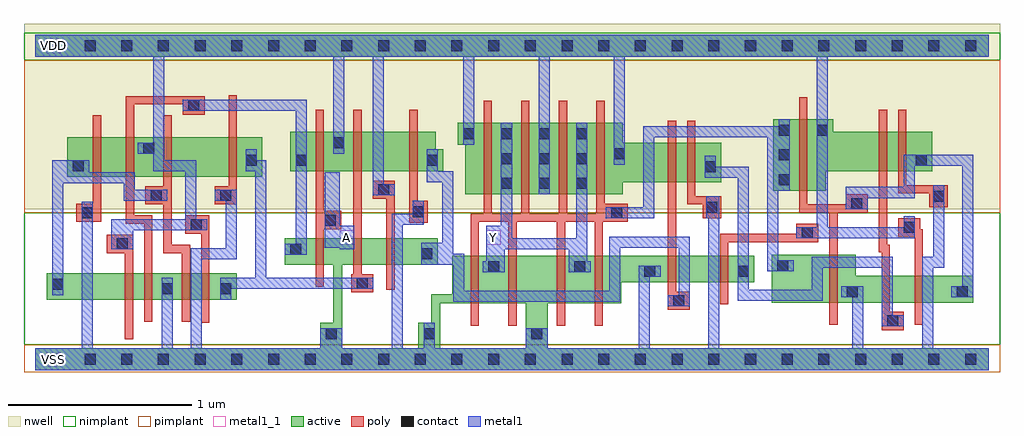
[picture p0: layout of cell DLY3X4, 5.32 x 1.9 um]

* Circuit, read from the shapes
.subckt DLY3X4 A VDD VSS Y
M1 n1 VDD n2 VSS nfet w=0.145u l=0.045u
M2 VSS n3 n1 VSS nfet w=0.145u l=0.045u
M3 n4 n2 VSS VSS nfet w=0.145u l=0.045u
M4 n5 VDD n4 VSS nfet w=0.145u l=0.045u
M5 VSS A n3 VSS nfet w=0.145u l=0.045u
M6 n6 n5 VSS VSS nfet w=0.145u l=0.045u
M7 n7 VDD n6 VSS nfet w=0.145u l=0.045u
M8 Y n8 VSS VSS nfet w=0.26u l=0.045u m=4
M9 n9 n7 VSS VSS nfet w=0.145u l=0.045u
M10 n10 VDD n9 VSS nfet w=0.145u l=0.045u
M11 VSS n11 n8 VSS nfet w=0.26u l=0.045u
M12 n12 n10 VSS VSS nfet w=0.145u l=0.045u
M13 n11 VDD n12 VSS nfet w=0.145u l=0.045u
M14 n13 VSS n2 VDD pfet w=0.215u l=0.045u
M15 VDD n3 n13 VDD pfet w=0.215u l=0.045u
M16 n14 n2 VDD VDD pfet w=0.215u l=0.045u
M17 n5 VSS n14 VDD pfet w=0.215u l=0.045u
M18 VDD A n3 VDD pfet w=0.215u l=0.045u
M19 n15 n5 VDD VDD pfet w=0.215u l=0.045u
M20 n7 VSS n15 VDD pfet w=0.215u l=0.045u
M21 Y n8 VDD VDD pfet w=0.39u l=0.045u m=4
M22 n16 n7 VDD VDD pfet w=0.215u l=0.045u
M23 n10 VSS n16 VDD pfet w=0.215u l=0.045u
M24 VDD n11 n8 VDD pfet w=0.39u l=0.045u
M25 n17 n10 VDD VDD pfet w=0.215u l=0.045u
M26 n11 VSS n17 VDD pfet w=0.215u l=0.045u
.ends

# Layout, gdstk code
import gdstk
lib = gdstk.Library(unit=1e-6, precision=5e-10)
def R(c, l, rs):  # rectangles x0, y0, x1, y1
    for r in rs: c.add(gdstk.rectangle(r[:2], r[2:], *l))
def A(c, l, x, y, w, h, nx, ny, dx, dy):  # array of equal rectangles
    R(c, l, [(x+i*dx, y+j*dy, x+i*dx+w, y+j*dy+h) for i in range(nx) for j in range(ny)])
def P(c, l, *ps):  # polygons
    for p in ps: c.add(gdstk.Polygon(p, *l))
active = (1, 0)
nwell = (2, 0)
poly = (3, 0)
nimplant = (4, 0)
pimplant = (5, 0)
contact = (6, 0)
metal1 = (7, 0)
metal1_1 = (7, 1)

dly3x4 = lib.new_cell('DLY3X4')
R(dly3x4, active, [(0.065,0.325,1.1,0.47), (0.175,0.995,1.24,1.21), (0,1.65,5.2,1.77)])
P(dly3x4, active, [(2.305,1.29),(3.205,1.29),(3.205,1.18),(3.74,1.18),(3.74,0.965),(3.205,0.965),(3.205,0.9),(2.345,0.9),(2.345,1.17),(2.305,1.17)],
  [(1.39,1.24),(2.185,1.24),(2.185,1.145),(2.225,1.145),(2.225,1.025),(1.39,1.025)],
  [(4.025,1.31),(4.35,1.31),(4.35,1.24),(4.89,1.24),(4.89,1.025),(4.31,1.025),(4.31,0.92),(4.025,0.92)],
  [(1.36,0.66),(2.195,0.66),(2.195,0.515),(1.675,0.515),(1.675,0.06),(2.09,0.06),(2.09,0.2),(2.16,0.2),(2.16,0.305),(2.21,0.305),(2.21,0.06),(2.675,0.06),(2.675,0.305),(2.16,0.305),(2.16,0.355),(2.275,0.355),(2.275,0.565),(3.92,0.565),(3.92,0.42),(3.195,0.42),(3.195,0.305),(2.795,0.305),(2.795,0.06),(5.2,0.06),(5.2,-0.06),(0,-0.06),(0,0.06),(1.555,0.06),(1.555,0.2),(1.625,0.2),(1.625,0.515),(1.36,0.515)],
  [(4.015,0.57),(4.475,0.57),(4.475,0.455),(5.115,0.455),(5.115,0.31),(4.015,0.31)])
R(dly3x4, nwell, [(-0.06,0.82,5.26,1.83)])
P(dly3x4, poly, [(0.495,1.435),(0.925,1.435),(0.925,1.335),(0.805,1.335),(0.805,1.39),(0.54,1.39),(0.54,0.785),(0.64,0.785),(0.64,0.205),(0.595,0.205),(0.595,0.74),(0.495,0.74)],
  [(0.315,1.33),(0.36,1.33),(0.36,0.75),(0.225,0.75),(0.225,0.85),(0.315,0.85)],
  [(0.7,1.33),(0.745,1.33),(0.745,0.625),(0.845,0.625),(0.845,0.205),(0.8,0.205),(0.8,0.58),(0.7,0.58),(0.7,0.845),(0.6,0.845),(0.6,0.945),(0.7,0.945)],
  [(2.445,1.41),(2.49,1.41),(2.49,0.795),(2.65,0.795),(2.65,1.41),(2.695,1.41),(2.695,0.795),(2.855,0.795),(2.855,1.41),(2.9,1.41),(2.9,0.795),(3.06,0.795),(3.06,1.41),(3.105,1.41),(3.105,0.85),(3.23,0.85),(3.23,0.75),(3.095,0.75),(3.095,0.185),(3.05,0.185),(3.05,0.75),(2.89,0.75),(2.89,0.185),(2.845,0.185),(2.845,0.75),(2.625,0.75),(2.625,0.185),(2.58,0.185),(2.58,0.75),(2.42,0.75),(2.42,0.185),(2.375,0.185),(2.375,0.795),(2.445,0.795)],
  [(4.165,1.43),(4.21,1.43),(4.21,0.845),(4.42,0.845),(4.42,0.9),(4.54,0.9),(4.54,0.8),(4.375,0.8),(4.375,0.19),(4.33,0.19),(4.33,0.8),(4.165,0.8)],
  [(1.055,1.44),(1.1,1.44),(1.1,0.845),(0.98,0.845),(0.98,0.945),(1.055,0.945)],
  [(1.53,1.36),(1.575,1.36),(1.575,0.81),(1.67,0.81),(1.67,0.71),(1.575,0.71),(1.575,0.395),(1.53,0.395)],
  [(1.735,1.36),(1.78,1.36),(1.78,0.465),(1.845,0.465),(1.845,0.365),(1.725,0.365),(1.725,0.465),(1.735,0.465)],
  [(2.04,1.36),(2.085,1.36),(2.085,0.865),(2.14,0.865),(2.14,0.745),(2.04,0.745)],
  [(3.45,1.3),(3.495,1.3),(3.495,0.37),(3.57,0.37),(3.57,0.27),(3.45,0.27)],
  [(3.555,1.3),(3.6,1.3),(3.6,0.89),(3.74,0.89),(3.74,0.77),(3.64,0.77),(3.64,0.845),(3.555,0.845)],
  [(1.84,0.975),(1.96,0.975),(1.96,0.38),(1.915,0.38),(1.915,0.875),(1.84,0.875)],
  [(4.6,1.36),(4.645,1.36),(4.645,0.625),(4.66,0.625),(4.66,0.26),(4.735,0.26),(4.735,0.16),(4.615,0.16),(4.615,0.585),(4.6,0.585)],
  [(4.705,1.36),(4.75,1.36),(4.75,0.95),(4.975,0.95),(4.975,0.83),(4.875,0.83),(4.875,0.905),(4.705,0.905)],
  [(4.15,0.74),(4.27,0.74),(4.27,0.64),(3.78,0.64),(3.78,0.3),(3.735,0.3),(3.735,0.685),(4.15,0.685)],
  [(4.705,0.77),(4.825,0.77),(4.825,0.71),(4.84,0.71),(4.84,0.19),(4.795,0.19),(4.795,0.67),(4.705,0.67)],
  [(0.39,0.68),(0.535,0.68),(0.535,0.11),(0.49,0.11),(0.49,0.58),(0.39,0.58)],
  [(0.82,0.785),(0.95,0.785),(0.95,0.2),(0.905,0.2),(0.905,0.685),(0.82,0.685)])
R(dly3x4, nimplant, [(-0.06,0.08,5.26,0.8), (-0.06,1.63,5.26,1.78)])
R(dly3x4, pimplant, [(-0.06,-0.07,5.26,0.08), (-0.06,0.8,5.26,1.63)])
A(dly3x4, contact, 0.07, -0.03, 0.06, 0.06, 26, 2, 0.2, 1.71)
A(dly3x4, contact, 2.54, 0.93, 0.06, 0.06, 3, 2, 0.205, 0.135)
A(dly3x4, contact, 4.055, 0.95, 0.06, 0.06, 1, 3, 0, 0.135)
A(dly3x4, contact, 2.335, 1.2, 0.06, 0.06, 4, 1, 0.205, 0)
R(dly3x4, contact, [(1.585,0.11,1.645,0.17), (2.12,0.11,2.18,0.17), (2.705,0.11,2.765,0.17), (4.645,0.18,4.705,0.24), (3.48,0.29,3.54,0.35), (4.425,0.34,4.485,0.4), (5.025,0.34,5.085,0.4), (0.69,0.355,0.75,0.415), (1.01,0.355,1.07,0.415), (0.095,0.38,0.155,0.44), (1.755,0.385,1.815,0.445), (3.32,0.45,3.38,0.51), (3.83,0.45,3.89,0.51), (2.47,0.475,2.53,0.535), (2.94,0.475,3,0.535), (4.045,0.48,4.105,0.54), (2.105,0.545,2.165,0.605), (1.39,0.57,1.45,0.63), (0.445,0.6,0.505,0.66), (4.18,0.66,4.24,0.72), (4.735,0.69,4.795,0.75), (0.85,0.705,0.91,0.765), (1.58,0.73,1.64,0.79), (0.255,0.77,0.315,0.83), (3.14,0.77,3.2,0.83), (2.06,0.775,2.12,0.835), (3.66,0.8,3.72,0.86), (4.45,0.82,4.51,0.88), (4.895,0.86,4.955,0.92), (0.63,0.865,0.69,0.925), (1.01,0.865,1.07,0.925), (1.87,0.895,1.93,0.955), (3.65,1.02,3.71,1.08), (0.205,1.025,0.265,1.085), (1.15,1.055,1.21,1.115), (1.42,1.055,1.48,1.115), (2.135,1.055,2.195,1.115), (4.8,1.055,4.86,1.115), (3.155,1.09,3.215,1.15), (0.59,1.12,0.65,1.18), (1.625,1.15,1.685,1.21), (4.26,1.22,4.32,1.28), (0.835,1.355,0.895,1.415)])
P(dly3x4, metal1, [(0,1.77),(5.2,1.77),(5.2,1.65),(4.32,1.65),(4.32,0.72),(4.735,0.72),(4.735,0.78),(4.795,0.78),(4.795,0.66),(4.15,0.66),(4.15,0.72),(4.26,0.72),(4.26,1.65),(3.215,1.65),(3.215,1.06),(3.155,1.06),(3.155,1.65),(2.805,1.65),(2.805,0.9),(2.745,0.9),(2.745,1.65),(2.395,1.65),(2.395,1.17),(2.335,1.17),(2.335,1.65),(1.9,1.65),(1.9,0.955),(1.96,0.955),(1.96,0.895),(1.84,0.895),(1.84,1.65),(1.685,1.65),(1.685,1.12),(1.625,1.12),(1.625,1.65),(0.705,1.65),(0.705,1.085),(0.88,1.085),(0.88,0.765),(0.94,0.765),(0.94,0.705),(0.535,0.705),(0.535,0.6),(0.415,0.6),(0.415,0.765),(0.82,0.765),(0.82,1.025),(0.645,1.025),(0.645,1.12),(0.56,1.12),(0.56,1.18),(0.645,1.18),(0.645,1.65),(0,1.65)],
  [(0.805,1.415),(1.48,1.415),(1.48,0.57),(1.36,0.57),(1.36,0.63),(1.42,0.63),(1.42,1.355),(0.805,1.355)],
  [(0.095,1.085),(0.295,1.085),(0.295,1.02),(0.545,1.02),(0.545,0.925),(0.72,0.925),(0.72,0.865),(0.485,0.865),(0.485,0.96),(0.155,0.96),(0.155,0.35),(0.095,0.35)],
  [(1.15,1.145),(1.21,1.145),(1.21,1.085),(1.26,1.085),(1.26,0.445),(1.845,0.445),(1.845,0.385),(1.07,0.385),(1.07,0.325),(1.01,0.325),(1.01,0.445),(1.2,0.445),(1.2,1.025),(1.15,1.025)],
  [(0.98,0.925),(1.1,0.925),(1.1,0.545),(0.91,0.545),(0.91,0.06),(1.555,0.06),(1.555,0.17),(1.675,0.17),(1.675,0.06),(1.945,0.06),(1.945,0.795),(2.06,0.795),(2.06,0.865),(2.12,0.865),(2.12,0.735),(2.005,0.735),(2.005,0.06),(2.12,0.06),(2.12,0.2),(2.18,0.2),(2.18,0.06),(2.675,0.06),(2.675,0.17),(2.795,0.17),(2.795,0.06),(3.29,0.06),(3.29,0.51),(3.41,0.51),(3.41,0.45),(3.35,0.45),(3.35,0.06),(3.67,0.06),(3.67,0.77),(3.66,0.77),(3.66,0.89),(3.73,0.89),(3.73,0.06),(4.455,0.06),(4.455,0.34),(4.395,0.34),(4.395,0.4),(4.515,0.4),(4.515,0.06),(4.835,0.06),(4.835,0.56),(4.895,0.56),(4.895,0.95),(4.955,0.95),(4.955,0.5),(4.895,0.5),(4.895,0.06),(5.2,0.06),(5.2,-0.06),(0,-0.06),(0,0.06),(0.255,0.06),(0.255,0.86),(0.315,0.86),(0.315,0.06),(0.69,0.06),(0.69,0.445),(0.75,0.445),(0.75,0.06),(0.85,0.06),(0.85,0.605),(1.04,0.605),(1.04,0.865),(0.98,0.865)],
  [(2.54,1.29),(2.6,1.29),(2.6,0.66),(2.95,0.66),(2.95,1.29),(3.01,1.29),(3.01,0.535),(3.03,0.535),(3.03,0.475),(2.91,0.475),(2.91,0.6),(2.56,0.6),(2.56,0.475),(2.44,0.475),(2.44,0.535),(2.46,0.535),(2.46,0.73),(2.54,0.73)],
  [(2.135,1.145),(2.195,1.145),(2.195,1.025),(2.28,1.025),(2.28,0.575),(2.34,0.575),(2.34,0.375),(3.13,0.375),(3.13,0.67),(3.57,0.67),(3.57,0.29),(3.45,0.29),(3.45,0.35),(3.51,0.35),(3.51,0.61),(3.19,0.61),(3.19,0.315),(2.28,0.315),(2.28,0.515),(2.105,0.515),(2.105,0.635),(2.22,0.635),(2.22,0.965),(2.135,0.965)],
  [(1.58,1.02),(1.66,1.02),(1.66,0.73),(1.74,0.73),(1.74,0.6),(1.66,0.6),(1.66,0.61),(1.58,0.61)],
  [(4.055,1.31),(4.115,1.31),(4.115,0.92),(4.05,0.92),(4.05,0.54),(4.135,0.54),(4.135,0.48),(3.99,0.48),(3.99,1.21),(3.375,1.21),(3.375,0.77),(3.11,0.77),(3.11,0.83),(3.315,0.83),(3.315,1.27),(4.055,1.27)],
  [(3.65,1.11),(3.71,1.11),(3.71,1.05),(3.89,1.05),(3.89,0.38),(4.235,0.38),(4.235,0.56),(4.675,0.56),(4.675,0.24),(4.735,0.24),(4.735,0.18),(4.615,0.18),(4.615,0.5),(4.295,0.5),(4.295,0.32),(3.83,0.32),(3.83,0.99),(3.65,0.99)],
  [(4.735,1.115),(5.115,1.115),(5.115,0.34),(4.995,0.34),(4.995,0.4),(5.055,0.4),(5.055,1.055),(4.795,1.055),(4.795,0.88),(4.54,0.88),(4.54,0.82),(4.42,0.82),(4.42,0.94),(4.735,0.94)])
R(dly3x4, metal1_1, [(0.06,-0.04,0.14,0.04), (1.66,0.625,1.74,0.705), (2.46,0.625,2.54,0.705), (0.06,1.67,0.14,1.75)])
dly3x4.add(gdstk.Label('A', (1.7,0.665), layer=7, texttype=1))
dly3x4.add(gdstk.Label('Y', (2.5,0.665), layer=7, texttype=1))
dly3x4.add(gdstk.Label('VDD', (0.1,1.71), layer=7, texttype=1))
dly3x4.add(gdstk.Label('VSS', (0.1,0), layer=7, texttype=1))
dly3x4.add(gdstk.Label('DLY3X4', (0,0), layer=63, texttype=0))

lib.write_gds('DLY3X4.gds')
